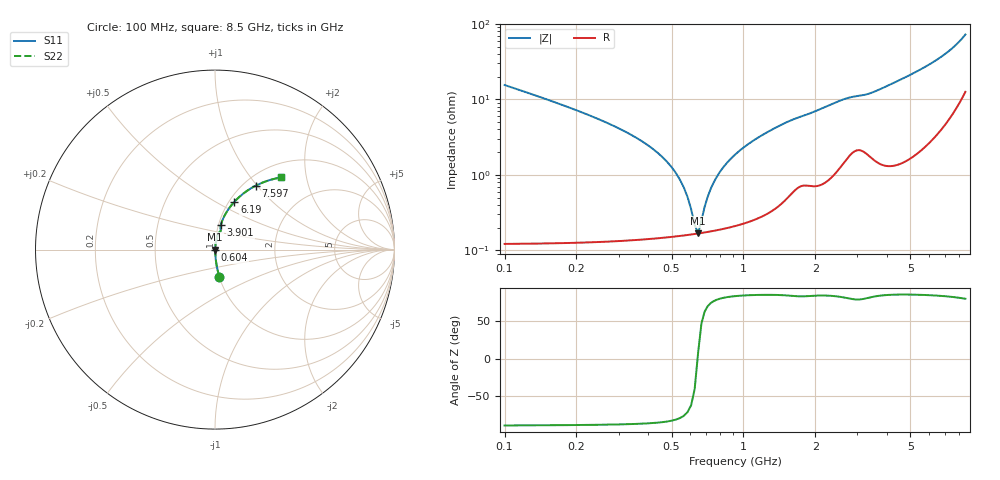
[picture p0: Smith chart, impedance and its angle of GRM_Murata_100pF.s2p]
!Murata Part Number: GRM1885C1H101JA01
!These Parameters are Measured in Series Mode Connection
!Data Generated on Mar 13, 2026
!  o--ll--o
!Port1  Port2
!  o------o
!Operation Temp=25[degC], DC Bias Voltage=0[V]
!Freq. Start=100[MHz] Stop=9[GHz] 401[Steps]
# Hz S RI R 50
!Freq.(Hz) S11(Real) S11(Imag) S21(Real) S21(Imag) S12(Real) S12(Imag) S22(Real) S22(Imag)
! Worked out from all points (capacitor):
!   401 points, 100 MHz to 8.5 GHz, reference 50 ohm
!   read as one part in series: C = 100 pF near 142 MHz
!   lowest |Z| = 169 mohm at 646 MHz (marker M1)
!   series resonance near 643.1 MHz, so ESL is about 610 pH
!   S11 on the Smith chart (normalised r, x): 100 MHz: 1.00, -0.31; 604 MHz: 1.00, -0.01; 3.901 GHz: 1.03, +0.29; 6.19 GHz: 1.06, +0.62; 7.597 GHz: 1.13, +0.99; 8.5 GHz: 1.25, +1.43
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1e8  0.0247 -0.1513  0.9753 0.1513  0.9753 0.1513  0.0247 -0.1513
2.47e8  0.00428 -0.0546  0.9957 0.0546  0.9957 0.0546  0.00428 -0.0546
4.78e8  0.0017 -0.0149  0.9983 0.0149  0.9983 0.0149  0.0017 -0.0149
5.41e8  0.00162 -0.00859  0.9984 0.00859  0.9984 0.00859  0.00162 -0.00859
6.04e8  0.00163 -0.00311  0.9984 0.00311  0.9984 0.00311  0.00163 -0.00311
6.25e8  0.00164 -0.00141  0.9984 0.00141  0.9984 0.00141  0.00164 -0.00141
6.46e8  0.00167 0.000222  0.9983 -0.000222  0.9983 -0.000222  0.00167 0.000222
6.67e8  0.0017 0.00181  0.9983 -0.00181  0.9983 -0.00181  0.0017 0.00181
7.3e8  0.00182 0.0063  0.9982 -0.0063  0.9982 -0.0063  0.00182 0.0063
7.72e8  0.00192 0.00912  0.9981 -0.00912  0.9981 -0.00912  0.00192 0.00912
8.98e8  0.00233 0.0169  0.9977 -0.0169  0.9977 -0.0169  0.00233 0.0169
1.129e9  0.00347 0.0297  0.9965 -0.0297  0.9965 -0.0297  0.00347 0.0297
1.507e9  0.00707 0.0486  0.9929 -0.0486  0.9929 -0.0486  0.00707 0.0486
2.368e9  0.0169 0.0853  0.9831 -0.0853  0.9831 -0.0853  0.0169 0.0853
2.914e9  0.0308 0.1021  0.9692 -0.1021  0.9692 -0.1021  0.0308 0.1021
3.901e9  0.0329 0.1385  0.9671 -0.1385  0.9671 -0.1385  0.0329 0.1385
4.3e9  0.0395 0.1591  0.9605 -0.1591  0.9605 -0.1591  0.0395 0.1591
5.707e9  0.0836 0.2371  0.9164 -0.2371  0.9164 -0.2371  0.0836 0.2371
6.19e9  0.1081 0.2665  0.8919 -0.2665  0.8919 -0.2665  0.1081 0.2665
7.114e9  0.1762 0.3258  0.8238 -0.3258  0.8238 -0.3258  0.1762 0.3258
7.597e9  0.2276 0.3565  0.7724 -0.3565  0.7724 -0.3565  0.2276 0.3565
8.5e9  0.3676 0.4021  0.6324 -0.4021  0.6324 -0.4021  0.3676 0.4021
